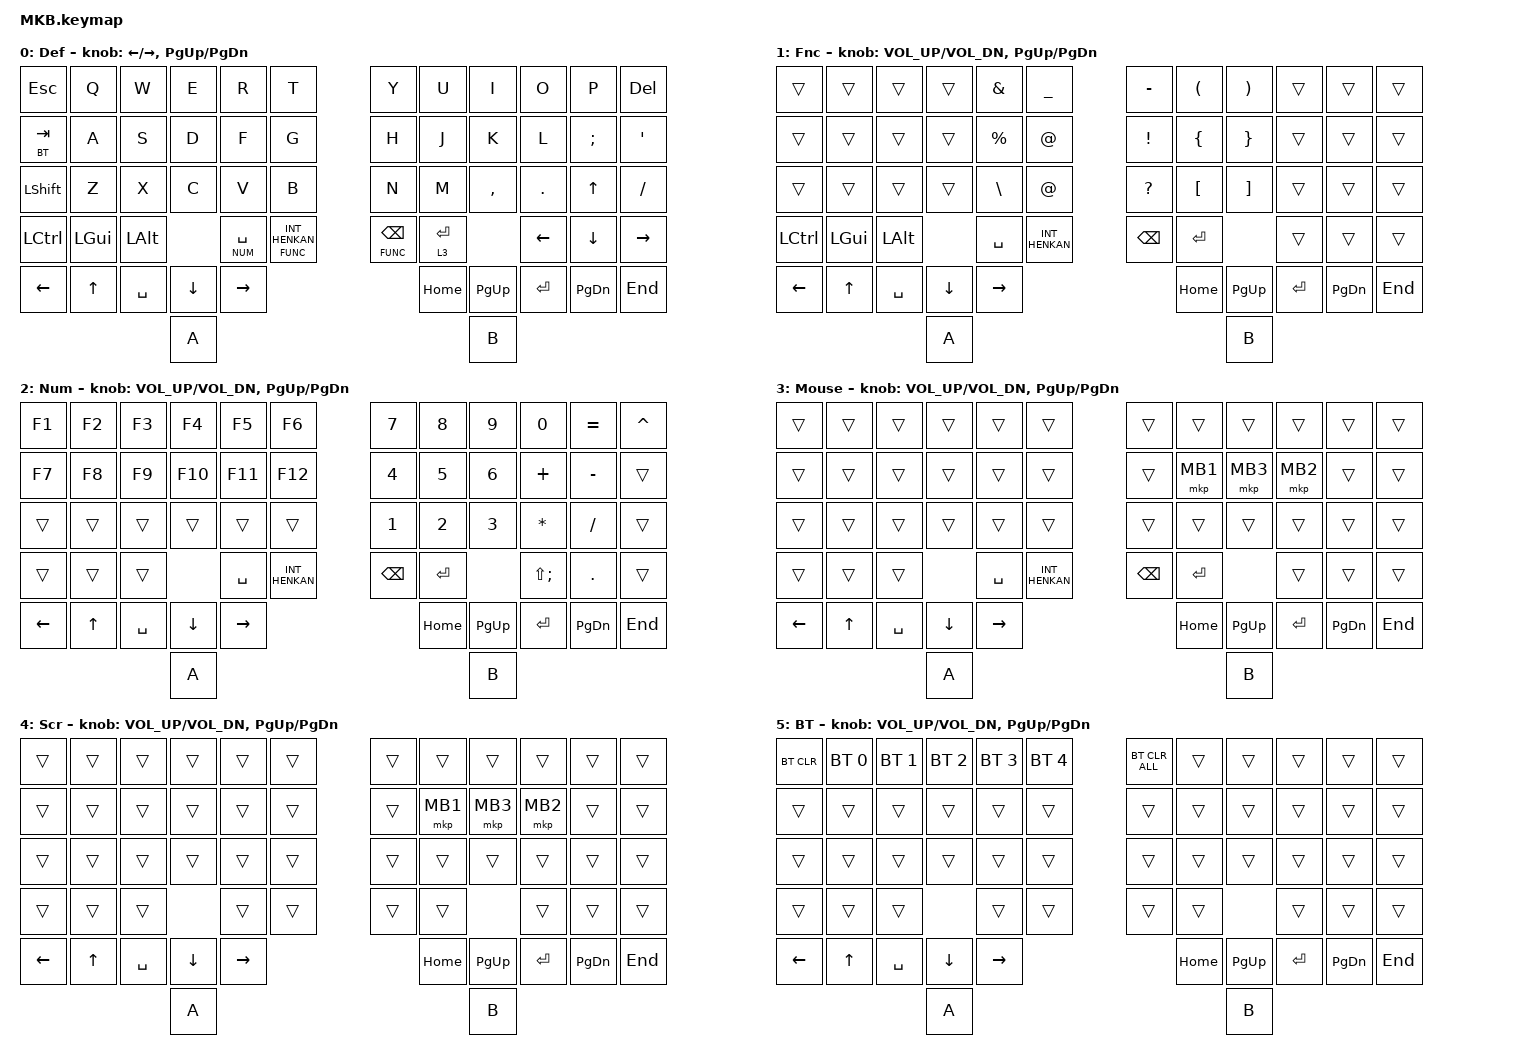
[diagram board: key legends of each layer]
// #include <layout_shift.dtsi>

#include <layout_shift_kp_override.dtsi>
#include <behaviors.dtsi>
#include <dt-bindings/zmk/bt.h>
#include <dt-bindings/zmk/keys.h>
#include <dt-bindings/zmk/pointing.h>

#define DEF 0
#define FUNC 1
#define NUM 2
#define MOUSE 3
#define SCROLL 4
#define BT 5

&mt {
    flavor = "balanced";
    tapping-term-ms = <280>;
    quick-tap-ms = <175>;
    require-prior-idle-ms = <150>;
};

/ {
    combos {
        compatible = "zmk,combos";

        henkan {
            bindings = <&kp INT_MUHENKAN>;
            key-positions = <40 39>;
        };
    };

    keymap {
        compatible = "zmk,keymap";

        default_layer {
            label = "Def";
            bindings = <
&kp ESCAPE        &kp Q     &kp W      &kp E     &kp R          &kp T                    &kp Y               &kp U        &kp I      &kp O      &kp P      &kp DEL
&lt BT TAB        &kp A     &kp S      &kp D     &kp F          &kp G                    &kp H               &kp J        &kp K      &kp L      &kp SEMI   &kp SQT
&kp LSHFT         &kp Z     &kp X      &kp C     &kp V          &kp B                    &kp N               &kp M        &kp COMMA  &kp DOT    &kp UP     &kp FSLH
&kp LEFT_CONTROL  &kp LGUI  &kp LALT             &lt NUM SPACE  &lt FUNC INT_HENKAN      &lt FUNC BACKSPACE  &lt 3 ENTER             &kp LEFT   &kp DOWN   &kp RIGHT
&kp LEFT          &kp UP    &kp SPACE  &kp DOWN  &kp RIGHT                                                   &kp HOME     &kp PG_UP  &kp ENTER  &kp PG_DN  &kp END
                                       &kp A                                                                              &kp B
            >;

            sensor-bindings =
                <&inc_dec_kp LEFT_ARROW RIGHT_ARROW>,
                <&inc_dec_kp PG_UP PG_DN>;
        };

        function_layer {
            label = "Fnc";
            bindings = <
&trans            &trans        &trans     &trans    &kp AMPS       &kp UNDER           &kp MINUS      &kp LEFT_PARENTHESIS  &kp RIGHT_PARENTHESIS  &trans     &trans     &trans
&trans            &trans        &trans     &trans    &kp PERCENT    &kp AT              &kp EXCL       &kp LEFT_BRACE        &kp RIGHT_BRACE        &trans     &trans     &trans
&trans            &trans        &trans     &trans    &kp BACKSLASH  &kp AT_SIGN         &kp QUESTION   &kp LEFT_BRACKET      &kp RIGHT_BRACKET      &trans     &trans     &trans
&kp LEFT_CONTROL  &kp LEFT_GUI  &kp LALT             &kp SPACE      &kp INT_HENKAN      &kp BACKSPACE  &kp ENTER                                    &trans     &trans     &trans
&kp LEFT          &kp UP        &kp SPACE  &kp DOWN  &kp RIGHT                                         &kp HOME              &kp PG_UP              &kp ENTER  &kp PG_DN  &kp END
                                           &kp A                                                                             &kp B
            >;

            sensor-bindings = <&inc_dec_kp C_VOL_UP C_VOL_DN &inc_dec_kp PG_UP PG_DN>;
        };

        num_layer {
            label = "Num";
            bindings = <
&kp F1    &kp F2  &kp F3     &kp F4    &kp F5     &kp F6              &kp N7         &kp N8     &kp N9     &kp N0        &kp EQUAL  &kp CARET
&kp F7    &kp F8  &kp F9     &kp F10   &kp F11    &kp F12             &kp N4         &kp N5     &kp N6     &kp PLUS      &kp MINUS  &trans
&trans    &trans  &trans     &trans    &trans     &trans              &kp N1         &kp N2     &kp N3     &kp ASTRK     &kp SLASH  &trans
&trans    &trans  &trans               &kp SPACE  &kp INT_HENKAN      &kp BACKSPACE  &kp ENTER             &kp LS(SEMI)  &kp DOT    &trans
&kp LEFT  &kp UP  &kp SPACE  &kp DOWN  &kp RIGHT                                     &kp HOME   &kp PG_UP  &kp ENTER     &kp PG_DN  &kp END
                             &kp A                                                              &kp B
            >;

            sensor-bindings = <&inc_dec_kp C_VOL_UP C_VOL_DN &inc_dec_kp PG_UP PG_DN>;
        };

        mouse_layer {
            label = "Mouse";
            bindings = <
&trans    &trans  &trans     &trans    &trans     &trans              &trans         &trans     &trans     &trans     &trans     &trans
&trans    &trans  &trans     &trans    &trans     &trans              &trans         &mkp MB1   &mkp MB3   &mkp MB2   &trans     &trans
&trans    &trans  &trans     &trans    &trans     &trans              &trans         &trans     &trans     &trans     &trans     &trans
&trans    &trans  &trans               &kp SPACE  &kp INT_HENKAN      &kp BACKSPACE  &kp ENTER             &trans     &trans     &trans
&kp LEFT  &kp UP  &kp SPACE  &kp DOWN  &kp RIGHT                                     &kp HOME   &kp PG_UP  &kp ENTER  &kp PG_DN  &kp END
                             &kp A                                                              &kp B
            >;

            sensor-bindings = <&inc_dec_kp C_VOL_UP C_VOL_DN &inc_dec_kp PG_UP PG_DN>;
        };

        scroll_layer {
            label = "Scr";
            bindings = <
&trans    &trans  &trans     &trans    &trans     &trans      &trans  &trans    &trans     &trans     &trans     &trans
&trans    &trans  &trans     &trans    &trans     &trans      &trans  &mkp MB1  &mkp MB3   &mkp MB2   &trans     &trans
&trans    &trans  &trans     &trans    &trans     &trans      &trans  &trans    &trans     &trans     &trans     &trans
&trans    &trans  &trans               &trans     &trans      &trans  &trans               &trans     &trans     &trans
&kp LEFT  &kp UP  &kp SPACE  &kp DOWN  &kp RIGHT                      &kp HOME  &kp PG_UP  &kp ENTER  &kp PG_DN  &kp END
                             &kp A                                              &kp B
            >;

            sensor-bindings = <&inc_dec_kp C_VOL_UP C_VOL_DN &inc_dec_kp PG_UP PG_DN>;
        };

        bt_layer {
            label = "BT";
            bindings = <
&bt BT_CLR  &bt BT_SEL 0  &bt BT_SEL 1  &bt BT_SEL 2  &bt BT_SEL 3  &bt BT_SEL 4      &bt BT_CLR_ALL  &trans    &trans     &trans     &trans     &trans
&trans      &trans        &trans        &trans        &trans        &trans            &trans          &trans    &trans     &trans     &trans     &trans
&trans      &trans        &trans        &trans        &trans        &trans            &trans          &trans    &trans     &trans     &trans     &trans
&trans      &trans        &trans                      &trans        &trans            &trans          &trans               &trans     &trans     &trans
&kp LEFT    &kp UP        &kp SPACE     &kp DOWN      &kp RIGHT                                       &kp HOME  &kp PG_UP  &kp ENTER  &kp PG_DN  &kp END
                                        &kp A                                                                   &kp B
            >;

            sensor-bindings = <&inc_dec_kp C_VOL_UP C_VOL_DN &inc_dec_kp PG_UP PG_DN>;
        };
    };
};
